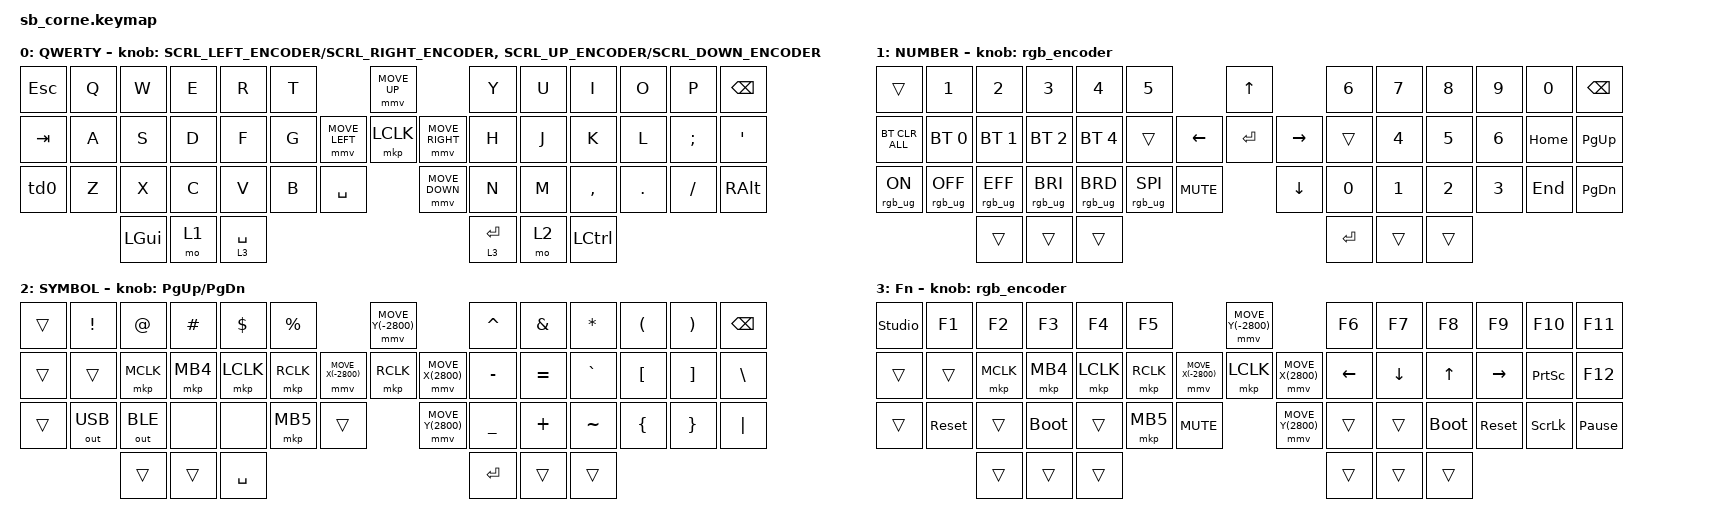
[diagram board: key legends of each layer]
#include <input/processors.dtsi>
#include <behaviors.dtsi>
#include <dt-bindings/zmk/bt.h>
#include <dt-bindings/zmk/keys.h>
#include <dt-bindings/zmk/outputs.h>
#include <dt-bindings/zmk/pointing.h>
#include <dt-bindings/zmk/rgb.h>

#include "mouse.dtsi"
/*
   &mmv_input_listener {
       input-processors = <&zip_xy_scaler 2 1>;
   };

   &msc_input_listener {
       input-processors = <&zip_xy_scaler 2 1>;
   };
 */

/ {
    behaviors {
        td0: td0 {
            compatible = "zmk,behavior-tap-dance";
            display-name = "Shift/Caps Lock Tap Dance";
            #binding-cells = <0>;
            bindings = <&kp LEFT_SHIFT>, <&kp CAPS>;
        };

        rgb_encoder: rgb_encoder {
            compatible = "zmk,behavior-sensor-rotate";
            #sensor-binding-cells = <0>;
            bindings = <&rgb_ug RGB_BRI>, <&rgb_ug RGB_BRD>;
        };
    };

    keymap {
        compatible = "zmk,keymap";

        default_layer {
            display-name = "QWERTY";
            bindings = <
                &kp ESC             &kp Q  &kp W  &kp E     &kp R  &kp T                                     &mmv MOVE_UP                     &kp Y        &kp U  &kp I      &kp O    &kp P     &kp BSPC
                &kp TAB             &kp A  &kp S  &kp D     &kp F  &kp G                     &mmv MOVE_LEFT  &mkp LCLK       &mmv MOVE_RIGHT  &kp H        &kp J  &kp K      &kp L    &kp SEMI  &kp SQT
                &td0                &kp Z  &kp X  &kp C     &kp V  &kp B        &kp SPACE                    &mmv MOVE_DOWN                   &kp N        &kp M  &kp COMMA  &kp DOT  &kp FSLH  &kp RALT
                                          &kp LGUI  &mo 1  &lt 3 SPACE                                                                &lt 3 ENTER  &mo 2  &kp LCTRL
            >;

            sensor-bindings = <&inc_dec_msc SCRL_LEFT_ENCODER SCRL_RIGHT_ENCODER &inc_dec_msc SCRL_UP_ENCODER SCRL_DOWN_ENCODER>;
        };

        lower_layer {
            display-name = "NUMBER";
            bindings = <
                &trans          &kp N1           &kp N2           &kp N3           &kp N4           &kp N5                                         &kp UP_ARROW               &kp N6     &kp N7        &kp N8  &kp N9  &kp N0    &kp BSPC
                &bt BT_CLR_ALL  &bt BT_SEL 0     &bt BT_SEL 1     &bt BT_SEL 2     &bt BT_SEL 4     &trans                         &kp LEFT_ARROW  &kp ENTER       &kp RIGHT  &trans     &kp N4        &kp N5  &kp N6  &kp HOME  &kp PG_UP
                &rgb_ug RGB_ON  &rgb_ug RGB_OFF  &rgb_ug RGB_EFF  &rgb_ug RGB_BRI  &rgb_ug RGB_BRD  &rgb_ug RGB_SPI  &kp C_MUTE                    &kp DOWN_ARROW             &kp N0     &kp NUMBER_1  &kp N2  &kp N3  &kp END   &kp PG_DN
                                                      &trans           &trans           &trans                                                                    &kp ENTER  &trans        &trans
            >;

            sensor-bindings = <&rgb_encoder>;
        };

        raise_layer {
            display-name = "SYMBOL";
            bindings = <
                &trans  &kp EXCL      &kp AT        &kp HASH  &kp DLLR   &kp PRCNT                                &mmv MOVE_Y(-2800)                     &kp CARET  &kp AMPS   &kp ASTRK  &kp LPAR  &kp RPAR  &kp BSPC
                &trans  &trans        &mkp MCLK     &mkp MB4  &mkp LCLK  &mkp RCLK            &mmv MOVE_X(-2800)  &mkp RCLK           &mmv MOVE_X(2800)  &kp MINUS  &kp EQUAL  &kp GRAVE   &kp LBKT  &kp RBKT  &kp BSLH
                &trans  &out OUT_USB  &out OUT_BLE  &none     &none      &mkp MB5   &trans                        &mmv MOVE_Y(2800)                      &kp UNDER  &kp PLUS   &kp TILDE   &kp LBRC  &kp RBRC  &kp PIPE
                                          &trans    &trans     &kp SPACE                                                                       &kp RET    &trans     &trans
            >;

            sensor-bindings = <&inc_dec_kp PG_UP PG_DN>;
        };

        layer_3 {
            display-name = "Fn";
            bindings = <
                &studio_unlock  &kp F1      &kp F2     &kp F3       &kp F4     &kp F5                                       &mmv MOVE_Y(-2800)                     &kp F6    &kp F7    &kp F8       &kp F9      &kp F10          &kp F11
                &trans          &trans      &mkp MCLK  &mkp MB4     &mkp LCLK  &mkp RCLK                &mmv MOVE_X(-2800)  &mkp LCLK           &mmv MOVE_X(2800)  &kp LEFT  &kp DOWN  &kp UP       &kp RIGHT   &kp PRINTSCREEN  &kp F12
                &trans          &sys_reset  &trans     &bootloader  &trans     &mkp MB5   &kp C_MUTE                        &mmv MOVE_Y(2800)                      &trans    &trans    &bootloader  &sys_reset  &kp SCROLLLOCK   &kp PAUSE_BREAK
                                               &trans       &trans     &trans                                                                              &trans    &trans    &trans
            >;

            sensor-bindings = <&rgb_encoder>;
        };
    };
};
